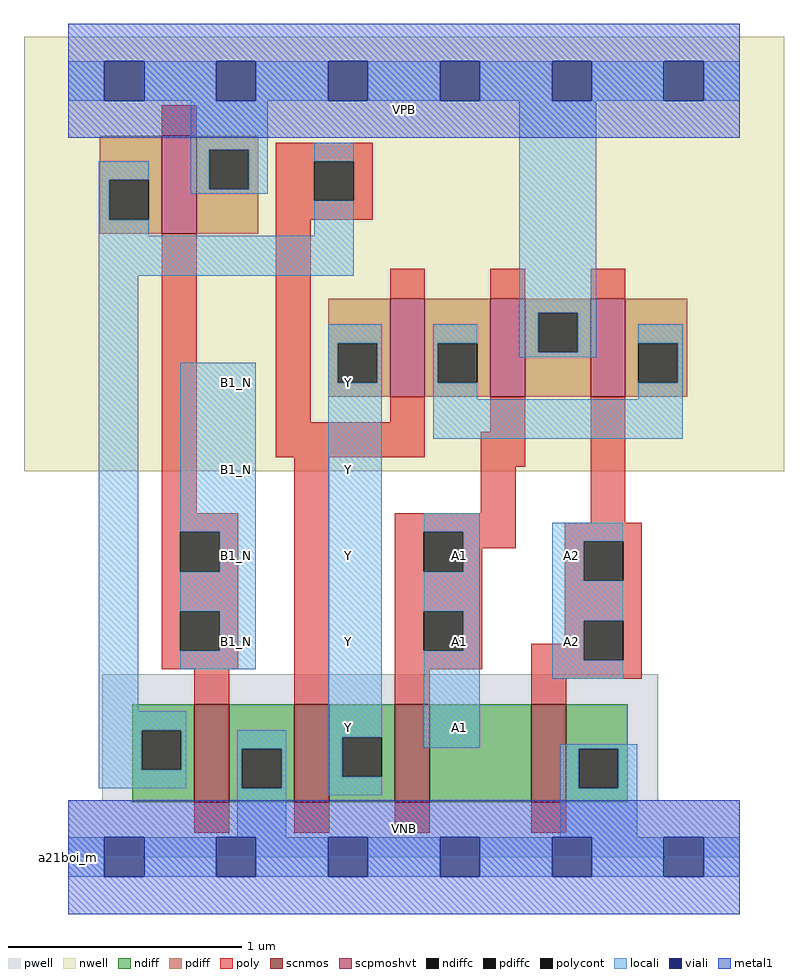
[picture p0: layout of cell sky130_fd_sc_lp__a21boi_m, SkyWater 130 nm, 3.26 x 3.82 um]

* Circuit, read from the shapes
.subckt sky130_fd_sc_lp__a21boi_m A1 A2 B1_N VGND VNB VPB VPWR Y
XM1 VGND B1_N n1 VNB sky130_fd_pr__nfet_01v8 w=0.42 l=0.15
XM2 Y n1 VGND VNB sky130_fd_pr__nfet_01v8 w=0.42 l=0.15
XM3 n2 A1 Y VNB sky130_fd_pr__nfet_01v8 w=0.42 l=0.15
XM4 VGND A2 n2 VNB sky130_fd_pr__nfet_01v8 w=0.42 l=0.15
XM5 VPWR B1_N n1 VPB sky130_fd_pr__pfet_01v8_hvt w=0.42 l=0.15
XM6 n3 n1 Y VPB sky130_fd_pr__pfet_01v8_hvt w=0.42 l=0.15
XM7 VPWR A1 n3 VPB sky130_fd_pr__pfet_01v8_hvt w=0.42 l=0.15
XM8 n3 A2 VPWR VPB sky130_fd_pr__pfet_01v8_hvt w=0.42 l=0.15
.ends

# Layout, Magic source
magic
tech sky130A
magscale 1 2
<< nwell >>
rect -38 331 614 704
<< pwell >>
rect 29 49 506 157
rect 0 0 576 49
<< scnmos >>
rect 108 47 138 131
rect 194 47 224 131
rect 280 47 310 131
rect 397 47 427 131
<< scpmoshvt >>
rect 80 535 110 619
rect 276 395 306 479
rect 362 395 392 479
rect 448 395 478 479
<< ndiff >>
rect 55 109 108 131
rect 55 75 63 109
rect 97 75 108 109
rect 55 47 108 75
rect 138 93 194 131
rect 138 59 149 93
rect 183 59 194 93
rect 138 47 194 59
rect 224 103 280 131
rect 224 69 235 103
rect 269 69 280 103
rect 224 47 280 69
rect 310 47 397 131
rect 427 93 480 131
rect 427 59 438 93
rect 472 59 480 93
rect 427 47 480 59
<< pdiff >>
rect 27 581 80 619
rect 27 547 35 581
rect 69 547 80 581
rect 27 535 80 547
rect 110 607 163 619
rect 110 573 121 607
rect 155 573 163 607
rect 110 535 163 573
rect 223 441 276 479
rect 223 407 231 441
rect 265 407 276 441
rect 223 395 276 407
rect 306 441 362 479
rect 306 407 317 441
rect 351 407 362 441
rect 306 395 362 407
rect 392 467 448 479
rect 392 433 403 467
rect 437 433 448 467
rect 392 395 448 433
rect 478 441 531 479
rect 478 407 489 441
rect 523 407 531 441
rect 478 395 531 407
<< ndiffc >>
rect 63 75 97 109
rect 149 59 183 93
rect 235 69 269 103
rect 438 59 472 93
<< pdiffc >>
rect 35 547 69 581
rect 121 573 155 607
rect 231 407 265 441
rect 317 407 351 441
rect 403 433 437 467
rect 489 407 523 441
<< poly >>
rect 80 619 110 645
rect 178 597 261 613
rect 178 563 211 597
rect 245 563 261 597
rect 178 547 261 563
rect 80 295 110 535
rect 178 373 208 547
rect 276 479 306 505
rect 362 479 392 505
rect 448 479 478 505
rect 276 373 306 395
rect 178 343 306 373
rect 362 365 392 395
rect 80 279 146 295
rect 80 245 96 279
rect 130 245 146 279
rect 80 211 146 245
rect 80 177 96 211
rect 130 177 146 211
rect 80 161 146 177
rect 108 131 138 161
rect 194 131 224 343
rect 354 335 392 365
rect 354 295 384 335
rect 280 279 384 295
rect 448 287 478 395
rect 280 245 305 279
rect 339 265 384 279
rect 426 271 492 287
rect 339 245 355 265
rect 280 211 355 245
rect 280 177 305 211
rect 339 177 355 211
rect 426 237 442 271
rect 476 237 492 271
rect 426 203 492 237
rect 426 183 442 203
rect 280 161 355 177
rect 397 169 442 183
rect 476 169 492 203
rect 280 131 310 161
rect 397 153 492 169
rect 397 131 427 153
rect 108 21 138 47
rect 194 21 224 47
rect 280 21 310 47
rect 397 21 427 47
<< polycont >>
rect 211 563 245 597
rect 96 245 130 279
rect 96 177 130 211
rect 305 245 339 279
rect 305 177 339 211
rect 442 237 476 271
rect 442 169 476 203
<< locali >>
rect 0 649 31 683
rect 65 649 127 683
rect 161 649 223 683
rect 257 649 319 683
rect 353 649 415 683
rect 449 649 511 683
rect 545 649 576 683
rect 105 607 171 649
rect 26 581 69 597
rect 26 547 35 581
rect 105 573 121 607
rect 155 573 171 607
rect 105 569 171 573
rect 211 597 245 613
rect 26 533 69 547
rect 211 533 245 563
rect 26 499 245 533
rect 26 125 60 499
rect 387 467 453 649
rect 223 441 269 457
rect 96 279 161 424
rect 130 245 161 279
rect 96 211 161 245
rect 130 177 161 211
rect 96 161 161 177
rect 223 407 231 441
rect 265 407 269 441
rect 26 109 101 125
rect 26 75 63 109
rect 97 75 101 109
rect 26 59 101 75
rect 145 93 187 109
rect 145 59 149 93
rect 183 59 187 93
rect 145 17 187 59
rect 223 103 269 407
rect 313 441 351 457
rect 313 407 317 441
rect 387 433 403 467
rect 437 433 453 467
rect 387 429 453 433
rect 489 441 527 457
rect 313 393 351 407
rect 523 407 527 441
rect 489 393 527 407
rect 313 359 527 393
rect 223 69 235 103
rect 305 279 353 295
rect 339 245 353 279
rect 305 211 353 245
rect 339 177 353 211
rect 305 94 353 177
rect 415 271 476 287
rect 415 237 442 271
rect 415 203 476 237
rect 415 169 442 203
rect 415 153 476 169
rect 223 53 269 69
rect 422 93 488 97
rect 422 59 438 93
rect 472 59 488 93
rect 422 17 488 59
rect 0 -17 31 17
rect 65 -17 127 17
rect 161 -17 223 17
rect 257 -17 319 17
rect 353 -17 415 17
rect 449 -17 511 17
rect 545 -17 576 17
<< viali >>
rect 31 649 65 683
rect 127 649 161 683
rect 223 649 257 683
rect 319 649 353 683
rect 415 649 449 683
rect 511 649 545 683
rect 31 -17 65 17
rect 127 -17 161 17
rect 223 -17 257 17
rect 319 -17 353 17
rect 415 -17 449 17
rect 511 -17 545 17
<< metal1 >>
rect 0 683 576 715
rect 0 649 31 683
rect 65 649 127 683
rect 161 649 223 683
rect 257 649 319 683
rect 353 649 415 683
rect 449 649 511 683
rect 545 649 576 683
rect 0 617 576 649
rect 0 17 576 49
rect 0 -17 31 17
rect 65 -17 127 17
rect 161 -17 223 17
rect 257 -17 319 17
rect 353 -17 415 17
rect 449 -17 511 17
rect 545 -17 576 17
rect 0 -49 576 -17
<< labels >>
flabel pwell s 0 0 576 49 0 FreeSans 200 0 0 0 VNB
port 5 nsew ground bidirectional
flabel nwell s 0 617 576 666 0 FreeSans 200 0 0 0 VPB
port 6 nsew power bidirectional
rlabel comment s 0 0 0 0 4 a21boi_m
flabel metal1 s 0 617 576 666 0 FreeSans 340 0 0 0 VPWR
port 7 nsew power bidirectional
flabel metal1 s 0 0 576 49 0 FreeSans 340 0 0 0 VGND
port 4 nsew ground bidirectional
flabel locali s 415 168 449 202 0 FreeSans 340 0 0 0 A2
port 2 nsew signal input
flabel locali s 415 242 449 276 0 FreeSans 340 0 0 0 A2
port 2 nsew signal input
flabel locali s 127 168 161 202 0 FreeSans 340 0 0 0 B1_N
port 3 nsew signal input
flabel locali s 127 242 161 276 0 FreeSans 340 0 0 0 B1_N
port 3 nsew signal input
flabel locali s 127 316 161 350 0 FreeSans 340 0 0 0 B1_N
port 3 nsew signal input
flabel locali s 127 390 161 424 0 FreeSans 340 0 0 0 B1_N
port 3 nsew signal input
flabel locali s 319 94 353 128 0 FreeSans 340 0 0 0 A1
port 1 nsew signal input
flabel locali s 319 168 353 202 0 FreeSans 340 0 0 0 A1
port 1 nsew signal input
flabel locali s 319 242 353 276 0 FreeSans 340 0 0 0 A1
port 1 nsew signal input
flabel locali s 223 94 257 128 0 FreeSans 340 0 0 0 Y
port 8 nsew signal output
flabel locali s 223 168 257 202 0 FreeSans 340 0 0 0 Y
port 8 nsew signal output
flabel locali s 223 242 257 276 0 FreeSans 340 0 0 0 Y
port 8 nsew signal output
flabel locali s 223 316 257 350 0 FreeSans 340 0 0 0 Y
port 8 nsew signal output
flabel locali s 223 390 257 424 0 FreeSans 340 0 0 0 Y
port 8 nsew signal output
<< properties >>
string LEFsite unit
string LEFclass CORE
string FIXED_BBOX 0 0 576 666
string GDS_FILE $PDKPATH/libs.ref/sky130_fd_sc_lp/gds/sky130_fd_sc_lp.gds
string LEFsymmetry X Y R90
string GDS_END 5465470
string GDS_START 5459028
<< end >>
